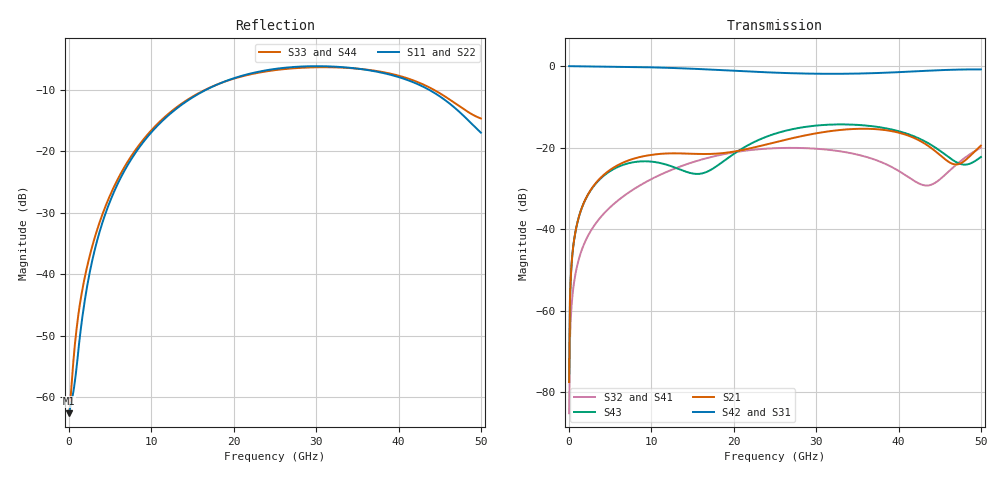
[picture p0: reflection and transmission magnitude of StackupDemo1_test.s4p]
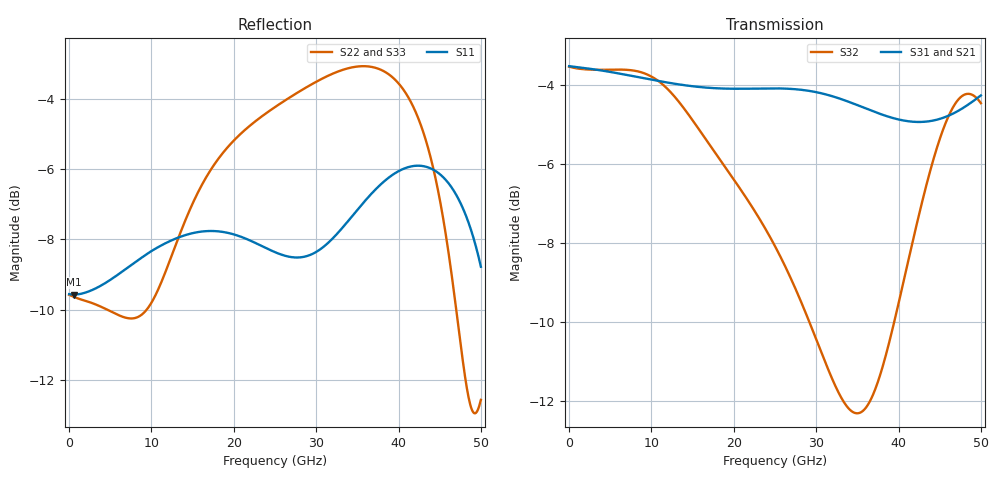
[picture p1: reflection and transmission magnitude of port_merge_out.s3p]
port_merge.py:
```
import skrf as rf
import numpy as np

# ── 配置区 ──────────────────────────────────────────────────────────────────
INPUT_FILE   = 'C:/Users/33202/Desktop/HFSS script/StackupDemo1_test.s4p'
OUTPUT_FILE  = './port_merge_out.s3p'   # 输出文件名后缀需与结果端口数匹配
MERGE_PORTS  = [0, 1]    # 要并联的端口索引（0-based），其余端口保留
# ────────────────────────────────────────────────────────────────────────────


def merge_ports(ntw: rf.Network, merge_idx: list[int]) -> rf.Network:
    """
    将 ntw 中 merge_idx 指定的 m 个端口并联合并为 1 个端口。

    合并规则（Y 矩阵法）：
        Y_AA      = Σ Y[i,j]   for i,j ∈ merge_idx
        Y_Ak/Y_kA = Σ Y[i,k]  for i ∈ merge_idx, k ∈ keep_idx
        Y_kl      = 不变       for k,l ∈ keep_idx

    返回：新的 (n - m + 1) 端口 Network，参考阻抗取 merge_idx[0] 的 z0。
    """
    n = ntw.nports
    merge_idx = list(merge_idx)
    keep_idx  = [p for p in range(n) if p not in merge_idx]
    n_new     = len(keep_idx) + 1          # 合并后端口数
    nf        = len(ntw.frequency)

    y_orig = ntw.y                         # shape: (f, n, n)
    y_new  = np.zeros((nf, n_new, n_new), dtype=complex)

    # 行/列 0 = 新合并端口 A；行/列 1..n_new-1 = 保留端口（顺序不变）

    # Y_AA
    y_new[:, 0, 0] = y_orig[:, np.ix_(merge_idx, merge_idx)[0],
                                np.ix_(merge_idx, merge_idx)[1]].sum(axis=(1, 2))

    # Y_Ak 和 Y_kA
    for col_new, k in enumerate(keep_idx, start=1):
        y_new[:, 0, col_new] = y_orig[:, merge_idx, k].sum(axis=1)   # Y_Ak
        y_new[:, col_new, 0] = y_orig[:, k, merge_idx].sum(axis=1)   # Y_kA

    # Y_kl（保留端口间，原值不变）
    for row_new, k in enumerate(keep_idx, start=1):
        for col_new, l in enumerate(keep_idx, start=1):
            y_new[:, row_new, col_new] = y_orig[:, k, l]

    # 参考阻抗：合并端口取 merge_idx[0] 的 z0，保留端口取各自原 z0
    z0_merge = ntw.z0[:, merge_idx[0]]
    z0_kept  = ntw.z0[:, keep_idx]                        # shape (f, len(keep_idx))
    z0_new   = np.hstack([z0_merge[:, np.newaxis], z0_kept])  # shape (f, n_new)

    return rf.Network(frequency=ntw.frequency, y=y_new, z0=z0_new)


# ── 主流程 ───────────────────────────────────────────────────────────────────
ntw = rf.Network(INPUT_FILE)
print(f"原始网络：{ntw.nports} 端口，{len(ntw.frequency)} 个频点")
print(f"合并端口索引：{MERGE_PORTS}  →  剩余端口数：{ntw.nports - len(MERGE_PORTS) + 1}")

ntw_merged = merge_ports(ntw, MERGE_PORTS)
ntw_merged.write_touchstone(OUTPUT_FILE)
print(f"完成，结果已保存至：{OUTPUT_FILE}")
```
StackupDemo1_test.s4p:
! Touchstone file exported from HFSS 2019.1.0
!  File:  C:/Users/33202/Desktop/HFSS script/StackupDemo1_test.aedt
!  Generated:  5:38:57 ä¸å  8æ 29, 2025
!  Design:  StackupDesign
!  Project:  StackupDemo1_test
!  Setup:  Setup1
!  Solution:  Sweep1
! Variables:
!  Position_via_L11 = 0um
!  Position_via_L16 = 0um
!  Position_via_L4 = 758um
!  Position_via_L8 = 336um
!  Position_via_L9 = 240um
!  R_L10_pad_out = 45um
!  R_L11_pad_in = 45um
!  R_L11_pad_out = 45um
!  R_L12_pad_out = 45um
!  R_L13_pad_out = 45um
!  R_L14_pad_out = 45um
!  R_L15_pad_out = 45um
!  R_L16_pad_in = 150um
!  R_L16_pad_out = 150um
!  R_L4_pad_in = 45um
!  R_L4_pad_out = 45um
!  R_L5_pad_out = 45um
!  R_L6_pad_out = 45um
!  R_L7_pad_out = 45um
!  R_L8_pad_in = 50um
!  R_L8_pad_out = 100um
!  R_L9_pad_in = 100um
!  R_L9_pad_out = 50um
!  R_anti_L11 = 90um
!  R_anti_L16 = 450um
!  R_anti_L4 = 90um
!  R_anti_L8 = 180um
!  R_anti_L9 = 90um
!  R_anti_pcb = 400um
!  R_bottom_anti = 450um
!  R_bottom_pad = 150um
!  R_core_anti = 180um
!  R_core_pad = 100um
!  R_core_via = 50um
!  R_micro_anti = 90um
!  R_micro_c_anti = 100um
!  R_micro_c_pad = 50um
!  R_micro_c_via = 30um
!  R_micro_pad = 45um
!  R_micro_via = 30um
!  R_pad_pcb = 150um
!  R_via_pcb = 50um
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# GHz S RI R
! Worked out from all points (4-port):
!   500 points, 10 MHz to 50 GHz, reference per port
!   strongest paths, dB at 10 MHz, 12.53 GHz, 25.06 GHz, 37.58 GHz, 50 GHz:
!     S42: 0.0, -0.4, -1.6, -1.7, -0.8
!     S31: 0.0, -0.4, -1.6, -1.7, -0.8
!     S21: -77.5, -21.4, -18.7, -15.5, -19.5
!     S43: -77.5, -24.6, -16.6, -15.0, -22.3
!     S32: -85.2, -25.4, -20.1, -23.3, -20.0
!     S41: -85.2, -25.4, -20.1, -23.3, -20.0
!   lowest |S11| = -62.7 dB at 10 MHz (marker M1), VSWR 1.00
!   |S11| at or under -10 dB: start of sweep to 16.55 GHz; 43.78 GHz to end of sweep
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0.01  0.000736 1.08e-05  3.92e-05 0.000127  0.9992 -0.00151  -3.79e-05 -3.97e-05
      3.92e-05 0.000127  0.000736 1.08e-05  -3.79e-05 -3.97e-05  0.9992 -0.00151
      0.9992 -0.00151  -3.79e-05 -3.97e-05  0.000737 1e-05  3.93e-05 0.000127
      -3.79e-05 -3.97e-05  0.9992 -0.00151  3.93e-05 0.000127  0.000736 9.97e-06
6.321363  -0.0542 0.0301  0.0377 0.0516  0.6236 -0.7589  -0.0183 -0.0156
          0.0377 0.0516  -0.0543 0.0301  -0.0183 -0.0156  0.6235 -0.759
          0.6236 -0.7589  -0.0183 -0.0156  0.0171 -0.0647  0.0547 0.0251
          -0.0183 -0.0156  0.6235 -0.759  0.0547 0.0251  0.0171 -0.0647
50  -0.1337 0.0489  0.1049 0.014  0.8416 -0.3508  -0.0297 -0.0953
    0.1049 0.014  -0.1332 0.0497  -0.0297 -0.0954  0.8415 -0.3511
    0.8416 -0.3508  -0.0297 -0.0954  0.1797 -0.0474  -0.0562 0.0523
    -0.0297 -0.0953  0.8415 -0.3511  -0.0562 0.0523  0.18 -0.0466
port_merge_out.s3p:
! Created with skrf (http://scikit-rf.org).
# GHz S RI R 50.0
!freq ReS11 ImS11 ReS12 ImS12 ReS13 ImS13
! ReS21 ImS21 ReS22 ImS22 ReS23 ImS23
! ReS31 ImS31 ReS32 ImS32 ReS33 ImS33
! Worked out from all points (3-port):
!   500 points, 10 MHz to 50 GHz, reference 50 ohm
!   strongest paths, dB at 10 MHz, 12.53 GHz, 25.06 GHz, 37.58 GHz, 50 GHz:
!     S31: -3.5, -4.0, -4.1, -4.7, -4.3
!     S21: -3.5, -4.0, -4.1, -4.7, -4.3
!     S32: -3.5, -4.2, -8.1, -11.5, -4.5
!   lowest |S11| = -9.6 dB at 611.1 MHz (marker M1), VSWR 2.00, Z = 25.1 + j0.316 ohm
!   |S11| at or under -10 dB: nowhere
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0.01  -0.3326 0.000122  0.6663 -0.00101  0.6663 -0.00101
      0.6663 -0.00101  -0.3318 0.000914  0.6654 -0.0018
      0.6663 -0.00101  0.6654 -0.0018  -0.3318 0.000914
0.6110822  -0.3322 0.00561  0.6626 -0.0583  0.6626 -0.0583
           0.6626 -0.0583  -0.3257 0.0499  0.6551 -0.1025
           0.6626 -0.0583  0.6551 -0.1025  -0.3257 0.0499
11.02984  -0.3461 0.1781  0.0329 -0.6368  0.033 -0.6368
          0.0329 -0.6368  0.3096 -0.1455  -0.6332 -0.0597
          0.033 -0.6368  -0.6332 -0.0597  0.3098 -0.1453
33.26988  0.3101 -0.2748  -0.1008 0.5957  -0.1007 0.5957
          -0.1008 0.5957  0.334 0.6077  -0.1082 -0.2266
          -0.1007 0.5957  -0.1082 -0.2266  0.3343 0.6076
50  -0.3596 0.0552  0.5417 -0.2837  0.5424 -0.283
    0.5417 -0.2837  -0.1826 0.1484  0.4632 -0.3785
    0.5424 -0.283  0.4632 -0.3785  -0.1828 0.1473
